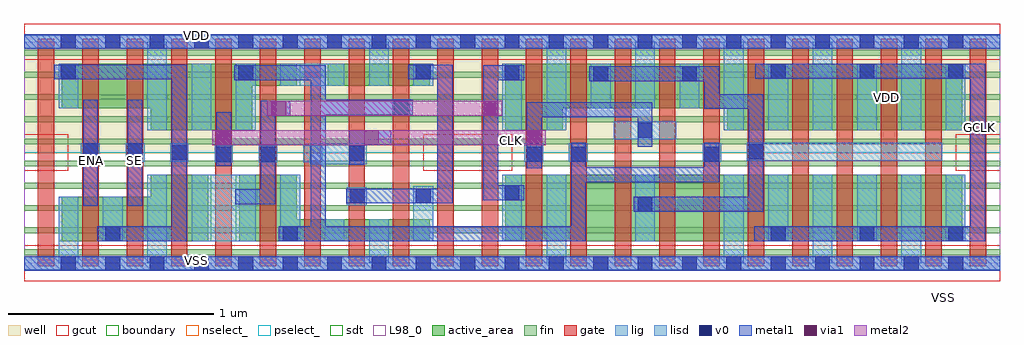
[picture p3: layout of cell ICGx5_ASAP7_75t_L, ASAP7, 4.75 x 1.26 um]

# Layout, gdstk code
import gdstk
lib = gdstk.Library(unit=1e-6, precision=2.5e-10)
def R(c, l, rs):  # rectangles x0, y0, x1, y1
    for r in rs: c.add(gdstk.rectangle(r[:2], r[2:], *l))
def A(c, l, x, y, w, h, nx, ny, dx, dy):  # array of equal rectangles
    R(c, l, [(x+i*dx, y+j*dy, x+i*dx+w, y+j*dy+h) for i in range(nx) for j in range(ny)])
def P(c, l, *ps):  # polygons
    for p in ps: c.add(gdstk.Polygon(p, *l))
well = (1, 0)
fin = (2, 0)
gate = (7, 0)
gcut = (10, 0)
active_area = (11, 0)
nselect_ = (12, 0)
pselect_ = (13, 0)
lig = (16, 0)
lisd = (17, 0)
v0 = (18, 0)
metal1 = (19, 0)
metal2 = (20, 0)
via1 = (21, 0)
sdt = (88, 0)
L98_0 = (98, 0)
boundary = (100, 0)

icgx5_asap7_75t_l = lib.new_cell('ICGx5_ASAP7_75t_L')
R(icgx5_asap7_75t_l, well, [(0,0.54,4.752,1.08)])
A(icgx5_asap7_75t_l, fin, 0, 0.04, 4.752, 0.028, 1, 10, 0, 0.108)
A(icgx5_asap7_75t_l, gate, 0.068, -0.014, 0.08, 1.108, 22, 1, 0.216, 0)
R(icgx5_asap7_75t_l, gate, [(4.604,-0.014,4.684,1.094)])
R(icgx5_asap7_75t_l, gcut, [(0,-0.088,4.752,0.088), (0,0.452,0.216,0.628), (1.944,0.452,2.376,0.628), (4.536,0.452,4.752,0.628), (0,0.992,4.752,1.168)])
R(icgx5_asap7_75t_l, active_area, [(2.344,0.108,4.568,0.432), (1.48,0.864,1.976,0.972)])
P(icgx5_asap7_75t_l, active_area, [(0.896,0.432),(0.616,0.432),(0.616,0.324),(0.184,0.324),(0.184,0.108),(0.896,0.108)],
  [(1.328,0.972),(0.184,0.972),(0.184,0.756),(0.616,0.756),(0.616,0.648),(1.112,0.648),(1.112,0.864),(1.328,0.864)],
  [(1.976,0.216),(1.328,0.216),(1.328,0.432),(1.048,0.432),(1.048,0.108),(1.976,0.108)],
  [(4.568,0.972),(2.344,0.972),(2.344,0.648),(2.624,0.648),(2.624,0.756),(3.424,0.756),(3.424,0.648),(4.568,0.648)])
R(icgx5_asap7_75t_l, nselect_, [(0,0,4.752,0.54)])
R(icgx5_asap7_75t_l, pselect_, [(0,0.54,4.752,1.08)])
R(icgx5_asap7_75t_l, lig, [(0,-0.032,4.752,0.032), (1.572,0.284,1.668,0.372), (0.928,0.492,1.016,0.576), (1.144,0.492,1.232,0.576), (1.36,0.492,1.452,0.576), (0.276,0.496,0.368,0.584), (0.496,0.496,0.588,0.584), (0.712,0.496,0.8,0.584), (2.436,0.496,2.528,0.584), (2.652,0.496,2.744,0.584), (3.304,0.496,3.396,0.584), (3.52,0.5,4.472,0.588), (2.872,0.604,3.176,0.692), (1.792,0.72,1.88,0.8), (0,1.048,4.752,1.112)])
A(icgx5_asap7_75t_l, lisd, 3.408, 0, 0.096, 0.432, 3, 2, 0.432, 0.648)
A(icgx5_asap7_75t_l, lisd, 2.328, 0.108, 0.096, 0.324, 3, 1, 0.648, 0)
A(icgx5_asap7_75t_l, lisd, 1.032, 0.648, 0.096, 0.324, 3, 1, 1.296, 0)
R(icgx5_asap7_75t_l, lisd, [(0.168,0,0.264,0.324), (0.6,0,0.696,0.432), (1.68,0,1.776,0.216), (2.544,0,2.64,0.432), (4.272,0,4.368,0.432), (0.384,0.108,0.48,0.324), (0.816,0.108,1.128,0.432), (1.248,0.108,1.344,0.432), (1.464,0.108,1.56,0.216), (1.896,0.108,1.992,0.376), (4.056,0.108,4.152,0.432), (4.488,0.108,4.584,0.432), (1.392,0.484,1.668,0.584), (0.6,0.648,0.696,1.08), (0.816,0.648,0.912,0.972), (2.544,0.648,2.64,1.08), (4.056,0.648,4.152,0.972), (4.272,0.648,4.368,1.08), (4.488,0.648,4.584,0.972), (0.168,0.756,0.264,0.972), (2.76,0.756,2.856,0.972), (2.976,0.756,3.072,1.08), (3.192,0.756,3.288,0.972), (1.248,0.864,1.56,0.972), (1.68,0.864,1.776,1.08), (1.896,0.864,1.992,0.972)])
A(icgx5_asap7_75t_l, v0, 0.18, -0.036, 0.072, 0.072, 20, 2, 0.216, 1.08)
A(icgx5_asap7_75t_l, v0, 3.636, 0.108, 0.072, 0.072, 3, 2, 0.432, 0.792)
R(icgx5_asap7_75t_l, v0, [(4.284,-0.036,4.356,0.036), (4.5,-0.036,4.572,0.036), (0.396,0.108,0.468,0.18), (1.26,0.108,1.332,0.18), (2.988,0.252,3.06,0.324), (1.588,0.292,1.66,0.364), (1.908,0.292,1.98,0.364), (2.34,0.308,2.412,0.38), (0.936,0.496,1.008,0.568), (1.152,0.496,1.224,0.568), (2.448,0.496,2.52,0.568), (2.664,0.496,2.736,0.568), (3.312,0.496,3.384,0.568), (1.584,0.5,1.656,0.572), (0.72,0.504,0.792,0.576), (3.528,0.508,3.6,0.58), (0.288,0.512,0.36,0.584), (0.504,0.512,0.576,0.584), (2.988,0.612,3.06,0.684), (1.8,0.724,1.872,0.796), (2.772,0.888,2.844,0.96), (3.204,0.888,3.276,0.96), (1.044,0.892,1.116,0.964), (2.34,0.892,2.412,0.964), (0.18,0.896,0.252,0.968), (1.908,0.896,1.98,0.968), (4.284,1.044,4.356,1.116), (4.5,1.044,4.572,1.116)])
R(icgx5_asap7_75t_l, metal1, [(0,-0.036,4.752,0.036), (0.288,0.28,0.36,0.796), (0.504,0.28,0.576,0.796), (0.936,0.476,1.008,0.736), (0,1.044,4.752,1.116)])
P(icgx5_asap7_75t_l, metal1, [(4.68,0.972),(3.56,0.972),(3.56,0.9),(4.608,0.9),(4.608,0.18),(3.556,0.18),(3.556,0.108),(4.68,0.108)],
  [(3.6,0.824),(3.384,0.824),(3.384,0.96),(2.752,0.96),(2.752,0.888),(3.312,0.888),(3.312,0.752),(3.528,0.752),(3.528,0.324),(2.968,0.324),(2.968,0.252),(3.6,0.252)],
  [(0.792,0.968),(0.148,0.968),(0.148,0.896),(0.72,0.896),(0.72,0.18),(0.356,0.18),(0.356,0.108),(0.792,0.108)],
  [(1.296,0.792),(1.152,0.792),(1.152,0.36),(1.028,0.36),(1.028,0.288),(1.224,0.288),(1.224,0.72),(1.296,0.72)],
  [(1.788,0.648),(1.584,0.648),(1.584,0.48),(1.656,0.48),(1.656,0.576),(1.788,0.576)],
  [(2.088,0.968),(1.872,0.968),(1.872,0.896),(2.012,0.896),(2.012,0.364),(1.568,0.364),(1.568,0.292),(2.088,0.292)],
  [(2.436,0.38),(2.308,0.38),(2.308,0.892),(2.436,0.892),(2.436,0.964),(2.236,0.964),(2.236,0.308),(2.436,0.308)],
  [(3.06,0.784),(2.448,0.784),(2.448,0.464),(2.52,0.464),(2.52,0.712),(2.988,0.712),(2.988,0.568),(3.06,0.568)],
  [(3.384,0.588),(3.312,0.588),(3.312,0.468),(2.736,0.468),(2.736,0.588),(2.664,0.588),(2.664,0.18),(1.468,0.18),(1.468,0.724),(1.892,0.724),(1.892,0.796),(1.468,0.796),(1.468,0.964),(1.024,0.964),(1.024,0.892),(1.396,0.892),(1.396,0.18),(1.24,0.18),(1.24,0.108),(2.736,0.108),(2.736,0.396),(3.384,0.396)])
R(icgx5_asap7_75t_l, metal2, [(0.916,0.576,2.54,0.648), (1.184,0.72,2.328,0.792)])
R(icgx5_asap7_75t_l, via1, [(0.936,0.576,1.008,0.648), (1.656,0.576,1.728,0.648), (2.448,0.576,2.52,0.648), (1.204,0.72,1.276,0.792), (2.236,0.72,2.308,0.792)])
A(icgx5_asap7_75t_l, sdt, 0.6, 0.108, 0.096, 0.324, 4, 1, 0.216, 0)
A(icgx5_asap7_75t_l, sdt, 1.464, 0.108, 0.096, 0.108, 3, 1, 0.216, 0)
A(icgx5_asap7_75t_l, sdt, 2.544, 0.108, 0.096, 0.324, 3, 1, 0.432, 0)
A(icgx5_asap7_75t_l, sdt, 3.624, 0.108, 0.096, 0.324, 4, 1, 0.216, 0)
A(icgx5_asap7_75t_l, sdt, 0.6, 0.648, 0.096, 0.324, 3, 1, 0.216, 0)
A(icgx5_asap7_75t_l, sdt, 3.408, 0.648, 0.096, 0.324, 5, 1, 0.216, 0)
A(icgx5_asap7_75t_l, sdt, 2.76, 0.756, 0.096, 0.216, 3, 1, 0.216, 0)
A(icgx5_asap7_75t_l, sdt, 1.248, 0.864, 0.096, 0.108, 4, 1, 0.216, 0)
R(icgx5_asap7_75t_l, sdt, [(0.168,0.108,0.264,0.324), (0.384,0.108,0.48,0.324), (2.328,0.108,2.424,0.432), (4.272,0.108,4.368,0.432), (4.488,0.108,4.584,0.432), (2.328,0.648,2.424,0.972), (2.544,0.648,2.64,0.972), (4.272,0.648,4.368,0.972), (4.488,0.648,4.584,0.972), (0.168,0.756,0.264,0.972)])
R(icgx5_asap7_75t_l, L98_0, [(0,0,4.752,1.08)])
R(icgx5_asap7_75t_l, boundary, [(0,0,4.752,1.08)])
icgx5_asap7_75t_l.add(gdstk.Label('VDD', (4.2,0.808), layer=1, texttype=251))
icgx5_asap7_75t_l.add(gdstk.Label('VDD', (0.84,1.112), layer=19, texttype=251))
icgx5_asap7_75t_l.add(gdstk.Label('VSS', (0.84,0.012), layer=19, texttype=251))
icgx5_asap7_75t_l.add(gdstk.Label('GCLK', (4.652,0.664), layer=19, texttype=251))
icgx5_asap7_75t_l.add(gdstk.Label('ENA', (0.328,0.5), layer=19, texttype=251))
icgx5_asap7_75t_l.add(gdstk.Label('SE', (0.54,0.5), layer=19, texttype=251))
icgx5_asap7_75t_l.add(gdstk.Label('VSS', (4.476,-0.172), layer=3, texttype=251))
icgx5_asap7_75t_l.add(gdstk.Label('CLK', (2.372,0.6), layer=20, texttype=251))

lib.write_gds('ICGx5_ASAP7_75t_L.gds')
